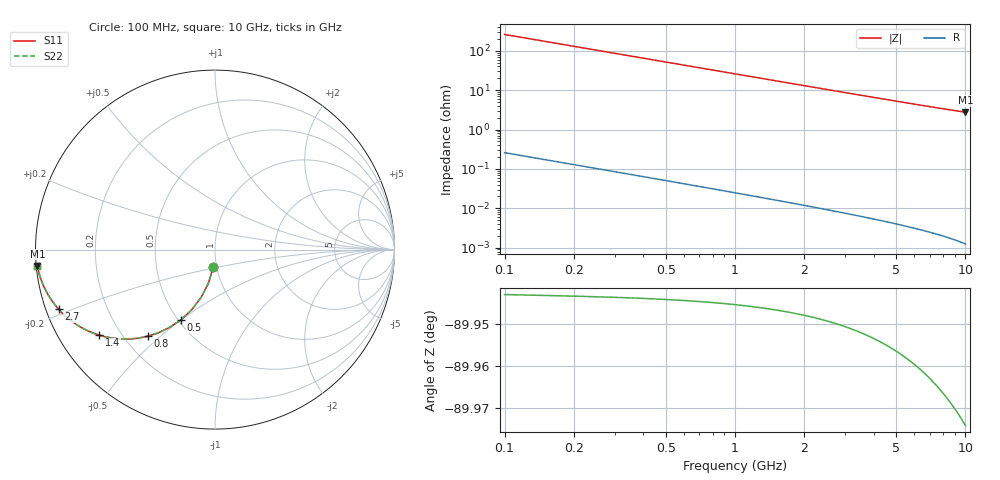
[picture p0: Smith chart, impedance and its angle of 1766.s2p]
# Hz S RI R 50.00
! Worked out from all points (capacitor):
!   100 points, 100 MHz to 10 GHz, reference 50 ohm
!   read as one part in shunt: C = 6.14 pF near 100 MHz
!   lowest |Z| = 2.76 ohm at 10 GHz (marker M1)
!   S11 on the Smith chart (normalised r, x): 100 MHz: 0.96, -0.19; 500 MHz: 0.52, -0.50; 800 MHz: 0.30, -0.46; 1.4 GHz: 0.12, -0.32; 2.7 GHz: 0.04, -0.18; 10 GHz: 0.00, -0.05
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1e8  -0.00924 -0.0954  0.9906 -0.0956  0.9906 -0.0956  -0.00924 -0.0954
2e8  -0.036 -0.1857  0.9639 -0.186  0.9639 -0.186  -0.036 -0.1857
3e8  -0.0774 -0.2665  0.9225 -0.267  0.9225 -0.267  -0.0774 -0.2665
4e8  -0.1297 -0.3352  0.8702 -0.3358  0.8702 -0.3358  -0.1297 -0.3352
5e8  -0.1888 -0.3904  0.8111 -0.3913  0.8111 -0.3913  -0.1888 -0.3904
6e8  -0.2509 -0.4326  0.749 -0.4336  0.749 -0.4336  -0.2509 -0.4326
7e8  -0.3131 -0.4627  0.6868 -0.4639  0.6868 -0.4639  -0.3131 -0.4627
8e8  -0.3731 -0.4825  0.6268 -0.4838  0.6268 -0.4838  -0.3731 -0.4825
9e8  -0.4296 -0.4937  0.5703 -0.4953  0.5703 -0.4953  -0.4296 -0.4937
1.1e9  -0.5293 -0.4977  0.4705 -0.4996  0.4705 -0.4996  -0.5293 -0.4977
1.2e9  -0.5723 -0.4932  0.4275 -0.4952  0.4275 -0.4952  -0.5723 -0.4932
1.4e9  -0.6456 -0.4766  0.3543 -0.479  0.3543 -0.479  -0.6456 -0.4766
1.6e9  -0.704 -0.4546  0.2959 -0.4573  0.2959 -0.4573  -0.704 -0.4546
1.8e9  -0.7506 -0.4306  0.2492 -0.4336  0.2492 -0.4336  -0.7506 -0.4306
2.2e9  -0.8181 -0.3833  0.1818 -0.3871  0.1818 -0.3871  -0.8181 -0.3833
2.7e9  -0.8714 -0.3319  0.1285 -0.3365  0.1285 -0.3365  -0.8714 -0.3319
3.4e9  -0.9149 -0.2755  0.085 -0.2814  0.085 -0.2814  -0.9149 -0.2755
4.2e9  -0.9426 -0.2283  0.0573 -0.2356  0.0573 -0.2356  -0.9426 -0.2283
5.1e9  -0.9604 -0.1899  0.0394 -0.1987  0.0394 -0.1987  -0.9604 -0.1899
6.7e9  -0.9768 -0.1439  0.023 -0.1556  0.023 -0.1556  -0.9768 -0.1439
8.4e9  -0.9852 -0.1123  0.0146 -0.1271  0.0146 -0.1271  -0.9852 -0.1123
1e10  -0.9896 -0.0914  0.0101 -0.1092  0.0101 -0.1092  -0.9896 -0.0914
